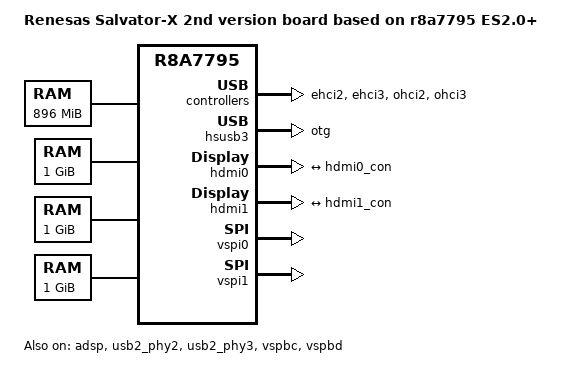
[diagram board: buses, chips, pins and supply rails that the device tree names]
/*
 * Device Tree Source for the Salvator-X 2nd version board
 *
 * Copyright (C) 2015-2017 Renesas Electronics Corp.
 *
 * This file is licensed under the terms of the GNU General Public License
 * version 2.  This program is licensed "as is" without any warranty of any
 * kind, whether express or implied.
 */

/dts-v1/;
#include "r8a7795.dtsi"
#include "salvator-xs.dtsi"

/ {
	model = "Renesas Salvator-X 2nd version board based on r8a7795 ES2.0+";
	compatible = "renesas,salvator-xs", "renesas,r8a7795";

	memory@48000000 {
		device_type = "memory";
		/* first 128MB is reserved for secure area. */
		reg = <0x0 0x48000000 0x0 0x38000000>;
	};

	memory@500000000 {
		device_type = "memory";
		reg = <0x5 0x00000000 0x0 0x40000000>;
	};

	memory@600000000 {
		device_type = "memory";
		reg = <0x6 0x00000000 0x0 0x40000000>;
	};

	memory@700000000 {
		device_type = "memory";
		reg = <0x7 0x00000000 0x0 0x40000000>;
	};

	reserved-memory {
		#address-cells = <2>;
		#size-cells = <2>;
		ranges;

		/* device specific region for Lossy Decompression */
		lossy_decompress: linux,lossy_decompress {
			no-map;
			reg = <0x00000000 0x54000000 0x0 0x03000000>;
		};

		/* For Audio DSP */
		adsp_reserved: linux,adsp {
			compatible = "shared-dma-pool";
			reusable;
			reg = <0x00000000 0x57000000 0x0 0x01000000>;
		};

		/* global autoconfigured region for contiguous allocations */
		linux,cma {
			compatible = "shared-dma-pool";
			reusable;
			reg = <0x00000000 0x58000000 0x0 0x18000000>;
			linux,cma-default;
		};

		/* device specific region for contiguous allocations */
		mmp_reserved: linux,multimedia {
			compatible = "shared-dma-pool";
			reusable;
			reg = <0x00000000 0x70000000 0x0 0x10000000>;
		};
	};

	mmngr {
		compatible = "renesas,mmngr";
		memory-region = <&mmp_reserved>, <&lossy_decompress>;
	};

	mmngrbuf {
		compatible = "renesas,mmngrbuf";
	};

	vspm_if {
		compatible = "renesas,vspm_if";
	};
};

&adsp {
	status = "okay";
	memory-region = <&adsp_reserved>;
};

&du {
	clocks = <&cpg CPG_MOD 724>,
		 <&cpg CPG_MOD 723>,
		 <&cpg CPG_MOD 722>,
		 <&cpg CPG_MOD 721>,
		 <&cpg CPG_MOD 727>,
		 <&versaclock6 1>,
		 <&x21_clk>,
		 <&x22_clk>,
		 <&versaclock6 2>;
	clock-names = "du.0", "du.1", "du.2", "du.3", "lvds.0",
		      "dclkin.0", "dclkin.1", "dclkin.2", "dclkin.3";

	ports {
		port@3 {
			endpoint {
				remote-endpoint = <&lvds_in>;
			};
		};
	};
};

&ehci2 {
	status = "okay";
};

&ehci3 {
	status = "okay";
};

&hsusb3 {
	dr_mode = "otg";
	status = "okay";
};

&hdmi0 {
	status = "okay";

	ports {
		port@1 {
			reg = <1>;
			rcar_dw_hdmi0_out: endpoint {
				remote-endpoint = <&hdmi0_con>;
			};
		};
	};
};

&hdmi0_con {
	remote-endpoint = <&rcar_dw_hdmi0_out>;
};

&hdmi1 {
	status = "okay";

	ports {
		port@1 {
			reg = <1>;
			rcar_dw_hdmi1_out: endpoint {
				remote-endpoint = <&hdmi1_con>;
			};
		};
	};
};

&hdmi1_con {
	remote-endpoint = <&rcar_dw_hdmi1_out>;
};

&ohci2 {
	status = "okay";
};

&ohci3 {
	status = "okay";
};

&pfc {
	usb2_pins: usb2 {
		groups = "usb2";
		function = "usb2";
	};

	usb3_pins: usb2_ch3 {
		groups = "usb2_ch3";
		function = "usb2_ch3";
	};
};

&usb2_phy2 {
	pinctrl-0 = <&usb2_pins>;
	pinctrl-names = "default";

	status = "okay";
};

&usb2_phy3 {
	pinctrl-0 = <&usb3_pins>;
	pinctrl-names = "default";

	status = "okay";
};

&vspbc {
	status = "okay";
};

&vspbd {
	status = "okay";
};

&vspi0 {
	status = "okay";
};

&vspi1 {
	status = "okay";
};
